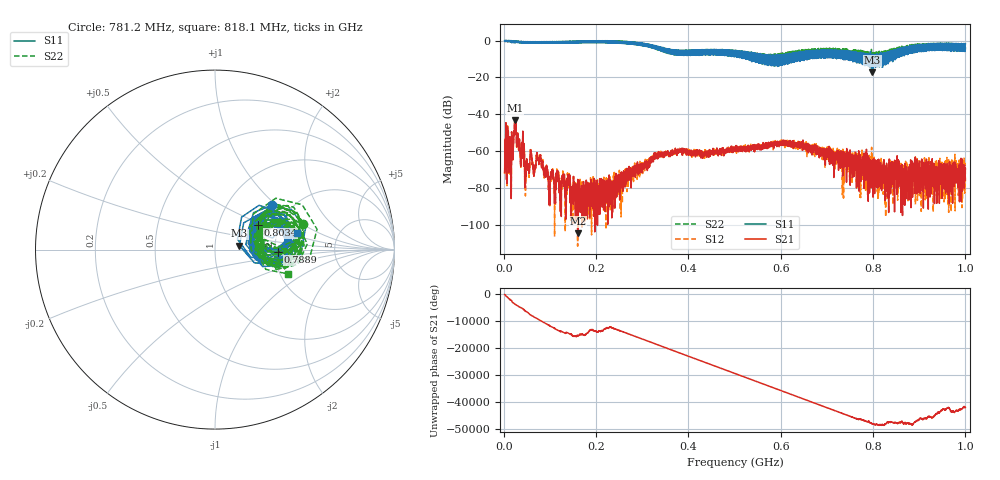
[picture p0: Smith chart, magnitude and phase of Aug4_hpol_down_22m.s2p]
!Keysight Technologies N9923A: A.12.45
!Date: Tuesday, 05 August 2025 18:27:40
!Timezone: (UTC+08:00) Kuala Lumpur, Singapore
!Model: N9923A
!Serial: MY61181427
!GPS Latitude:
!GPS Longitude:
!GPS TimeStamp: 0001-01-01 00:00:00Z
!GPS Seconds Since Last Read: 0
!CHECKSUM:1820471814
!Correction: S11(ON U)S21(ON U)S12(ON U)S22(ON U)
!S2P File: Measurements:S11,S21,S12,S22:
# Hz S DB R 50
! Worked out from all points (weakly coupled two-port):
!   4001 points, 2 MHz to 1 GHz, reference 50 ohm
!   highest |S21| = -43.40 dB at 24.21 MHz (marker M1); lowest = -104.7 dB at 160.7 MHz (marker M2)
!   lowest |S11| = -17.2 dB at 798.7 MHz (marker M3), VSWR 1.32, Z = 65.7 + j2.96 ohm
!   |S11| at or under -10 dB: 569.0806 MHz to 569.8766 MHz (796 kHz wide, 0.14 % of centre); 575.8299 MHz to 576.655 MHz (825.1 kHz wide, 0.143 % of centre); 582.5678 MHz to 583.4072 MHz (839.4 kHz wide, 0.144 % of centre)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
!   |S22| runs from -13.9 to 0.1 dB; largest |S21 - S12| = 0.0013
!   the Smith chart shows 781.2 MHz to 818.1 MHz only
!   S11 on the Smith chart (normalised r, x): 781.2 MHz: 1.59, +0.94; 788.9 MHz: 2.08, -0.06; 803.4 MHz: 1.54, +0.46; 818.1 MHz: 2.60, +0.60
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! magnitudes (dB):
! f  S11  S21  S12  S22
! 2 MHz  -0.1  -71.7  -72.2  -0.1
! 8.736 MHz  -0.2  -47.8  -47.4  -0.6
! 15.72 MHz  -0.5  -74.6  -74.2  -0.6
! 24.21 MHz  -0.8  -43.4  -43.4  -1.0
! 27.2 MHz  -0.8  -53.6  -53.5  -0.8
! 50.4 MHz  -0.7  -67.9  -66.7  -0.8
! 75.6 MHz  -0.9  -64.5  -64.1  -0.7
! 99.31 MHz  -1.1  -83.9  -86.7  -1.0
! 160.7 MHz  -0.4  -104.7  -86.3  -0.4
! 168.4 MHz  -1.2  -83.2  -86.0  -1.0
! 235 MHz  -0.4  -86.6  -82.3  -0.1
! 334.8 MHz  -4.1  -61.4  -62.5  -4.8
! 501 MHz  -6.1  -58.6  -58.1  -7.0
! 584.6 MHz  -13.7  -56.2  -56.5  -9.6
! 667.4 MHz  -8.7  -58.4  -60.0  -8.2
! 781.2 MHz  -7.9  -72.0  -65.0  -5.8
! 788.9 MHz  -9.1  -68.4  -64.7  -12.6
! 798.7 MHz  -17.2  -69.2  -66.0  -8.9
! 803.4 MHz  -11.2  -83.1  -69.5  -6.7
! 818.1 MHz  -6.6  -71.9  -67.9  -7.3
! 833.8 MHz  -9.2  -93.4  -85.2  -5.4
! 1 GHz  -1.7  -69.7  -76.5  -3.4
